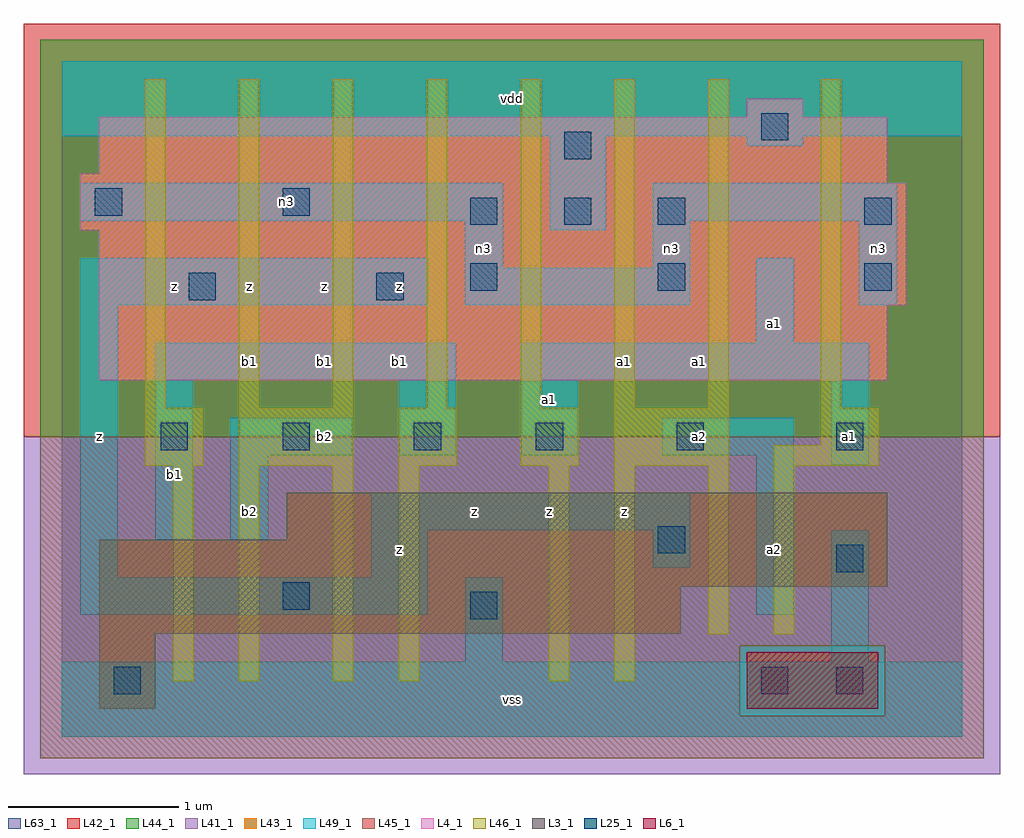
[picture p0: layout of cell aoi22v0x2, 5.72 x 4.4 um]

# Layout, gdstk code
import gdstk
lib = gdstk.Library(unit=1e-6, precision=1e-09)
def R(c, l, rs):  # rectangles x0, y0, x1, y1
    for r in rs: c.add(gdstk.rectangle(r[:2], r[2:], *l))
def A(c, l, x, y, w, h, nx, ny, dx, dy):  # array of equal rectangles
    R(c, l, [(x+i*dx, y+j*dy, x+i*dx+w, y+j*dy+h) for i in range(nx) for j in range(ny)])
L3_1 = (3, 1)
L4_1 = (4, 1)
L6_1 = (6, 1)
L25_1 = (25, 1)
L41_1 = (41, 1)
L42_1 = (42, 1)
L43_1 = (43, 1)
L44_1 = (44, 1)
L45_1 = (45, 1)
L46_1 = (46, 1)
L49_1 = (49, 1)
L63_1 = (63, 1)

aoi22v0x2 = lib.new_cell('aoi22v0x2')
R(aoi22v0x2, L3_1, [(0.22,0.165,0.55,0.605), (0.22,0.605,3.63,0.88), (0.22,0.88,4.84,1.155), (1.32,1.155,4.84,1.43)])
R(aoi22v0x2, L4_1, [(0.22,2.09,4.84,2.53), (0.22,2.53,4.95,2.97), (0.11,2.97,4.95,3.245), (0.11,3.245,4.84,3.3), (0.22,3.3,4.84,3.63), (4.015,3.63,4.345,3.74)])
R(aoi22v0x2, L6_1, [(4.015,0.165,4.785,0.495)])
A(aoi22v0x2, L25_1, 4.54, 0.25, 0.16, 0.16, 1, 3, 0, 0.715)
A(aoi22v0x2, L25_1, 2.395, 3, 0.16, 0.16, 3, 1, 0.55, 0)
R(aoi22v0x2, L25_1, [(0.305,0.25,0.465,0.41), (4.1,0.25,4.26,0.41), (2.395,0.69,2.555,0.85), (1.295,0.745,1.455,0.905), (3.495,1.075,3.655,1.235), (0.58,1.68,0.74,1.84), (1.295,1.68,1.455,1.84), (2.065,1.68,2.225,1.84), (2.78,1.68,2.94,1.84), (3.605,1.68,3.765,1.84), (0.745,2.56,0.905,2.72), (1.845,2.56,2.005,2.72), (2.395,2.615,2.555,2.775), (3.495,2.615,3.655,2.775), (4.705,2.615,4.865,2.775), (4.705,3,4.865,3.16), (0.195,3.055,0.355,3.215), (1.295,3.055,1.455,3.215), (2.945,3.385,3.105,3.545), (4.1,3.495,4.26,3.655)])
R(aoi22v0x2, L41_1, [(-0.22,-0.22,5.5,1.76)])
R(aoi22v0x2, L42_1, [(-0.22,1.76,5.5,4.18)])
R(aoi22v0x2, L43_1, [(0.22,0.165,0.55,0.605), (4.015,0.165,4.785,0.495), (0.22,0.605,3.63,0.88), (0.22,0.88,4.84,1.155), (1.32,1.155,4.84,1.43), (0.22,2.09,4.84,2.53), (0.22,2.53,4.95,2.97), (0.11,2.97,4.95,3.245), (0.11,3.245,4.84,3.3), (0.22,3.3,4.84,3.63), (4.015,3.63,4.345,3.74)])
R(aoi22v0x2, L44_1, [(3.975,0.125,4.825,0.535), (-0.125,1.76,5.405,4.085)])
R(aoi22v0x2, L45_1, [(-0.125,-0.125,5.405,0.125), (-0.125,0.125,3.975,0.535), (4.825,0.125,5.405,0.535), (-0.125,0.535,5.405,1.76)])
A(aoi22v0x2, L46_1, 0.49, 1.93, 0.12, 1.925, 7, 1, 0.55, 0)
R(aoi22v0x2, L46_1, [(0.655,0.325,0.775,1.59), (1.04,0.325,1.16,1.59), (1.59,0.325,1.71,1.59), (1.975,0.325,2.095,1.59), (2.855,0.325,2.975,1.59), (3.24,0.325,3.36,1.59), (3.79,0.6,3.91,1.59), (4.175,0.6,4.295,1.59), (0.49,1.59,0.83,1.93), (1.04,1.59,1.71,1.93), (1.975,1.59,2.315,1.93), (2.69,1.59,3.03,1.93), (3.24,1.59,3.91,1.93), (4.175,1.59,4.79,1.71), (4.45,1.71,4.79,1.93), (4.45,1.93,4.57,3.855)])
R(aoi22v0x2, L49_1, [(0,0,5.28,0.44), (2.365,0.44,2.585,0.935), (4.51,0.44,4.73,1.21), (0.11,0.715,2.145,0.935), (4.07,0.715,4.29,1.65), (0.11,0.935,0.33,2.53), (1.815,0.935,2.145,1.21), (3.465,0.99,3.685,1.21), (0.55,1.155,0.77,2.09), (0.99,1.155,1.21,1.65), (1.815,1.21,3.685,1.43), (4.51,1.595,4.73,2.09), (0.99,1.65,1.705,1.87), (1.98,1.65,2.31,2.09), (2.695,1.65,3.025,2.09), (3.52,1.65,4.29,1.87), (0.55,2.09,2.31,2.31), (2.695,2.09,4.73,2.31), (4.07,2.31,4.29,2.805), (0.11,2.53,2.145,2.805), (2.365,2.53,3.685,2.75), (4.675,2.53,4.895,3.025), (2.365,2.75,2.585,3.025), (3.465,2.75,3.685,3.025), (2.86,2.97,3.19,3.52), (0.11,3.025,2.585,3.245), (3.465,3.025,4.895,3.245), (4.015,3.465,4.345,3.52), (0,3.52,5.28,3.96)])
R(aoi22v0x2, L63_1, [(0,0,5.28,3.96)])
aoi22v0x2.add(gdstk.Label('b1', (0.66,1.54), layer=49, texttype=1))
aoi22v0x2.add(gdstk.Label('z', (0.22,1.76), layer=49, texttype=1))
aoi22v0x2.add(gdstk.Label('z', (0.66,2.64), layer=49, texttype=1))
aoi22v0x2.add(gdstk.Label('b2', (1.1,1.32), layer=49, texttype=1))
aoi22v0x2.add(gdstk.Label('b2', (1.54,1.76), layer=49, texttype=1))
aoi22v0x2.add(gdstk.Label('b1', (1.1,2.2), layer=49, texttype=1))
aoi22v0x2.add(gdstk.Label('b1', (1.54,2.2), layer=49, texttype=1))
aoi22v0x2.add(gdstk.Label('z', (1.1,2.64), layer=49, texttype=1))
aoi22v0x2.add(gdstk.Label('z', (1.54,2.64), layer=49, texttype=1))
aoi22v0x2.add(gdstk.Label('vss', (2.64,0.22), layer=49, texttype=1))
aoi22v0x2.add(gdstk.Label('z', (1.98,1.1), layer=49, texttype=1))
aoi22v0x2.add(gdstk.Label('z', (2.42,1.32), layer=49, texttype=1))
aoi22v0x2.add(gdstk.Label('z', (2.86,1.32), layer=49, texttype=1))
aoi22v0x2.add(gdstk.Label('b1', (1.98,2.2), layer=49, texttype=1))
aoi22v0x2.add(gdstk.Label('a1', (2.86,1.98), layer=49, texttype=1))
aoi22v0x2.add(gdstk.Label('z', (1.98,2.64), layer=49, texttype=1))
aoi22v0x2.add(gdstk.Label('n3', (2.475,2.86), layer=49, texttype=1))
aoi22v0x2.add(gdstk.Label('n3', (1.32,3.135), layer=49, texttype=1))
aoi22v0x2.add(gdstk.Label('vdd', (2.64,3.74), layer=49, texttype=1))
aoi22v0x2.add(gdstk.Label('z', (3.3,1.32), layer=49, texttype=1))
aoi22v0x2.add(gdstk.Label('a2', (4.18,1.1), layer=49, texttype=1))
aoi22v0x2.add(gdstk.Label('a2', (3.74,1.76), layer=49, texttype=1))
aoi22v0x2.add(gdstk.Label('a1', (3.3,2.2), layer=49, texttype=1))
aoi22v0x2.add(gdstk.Label('a1', (3.74,2.2), layer=49, texttype=1))
aoi22v0x2.add(gdstk.Label('a1', (4.18,2.42), layer=49, texttype=1))
aoi22v0x2.add(gdstk.Label('n3', (3.575,2.86), layer=49, texttype=1))
aoi22v0x2.add(gdstk.Label('a1', (4.62,1.76), layer=49, texttype=1))
aoi22v0x2.add(gdstk.Label('n3', (4.785,2.86), layer=49, texttype=1))

lib.write_gds('aoi22v0x2.gds')
